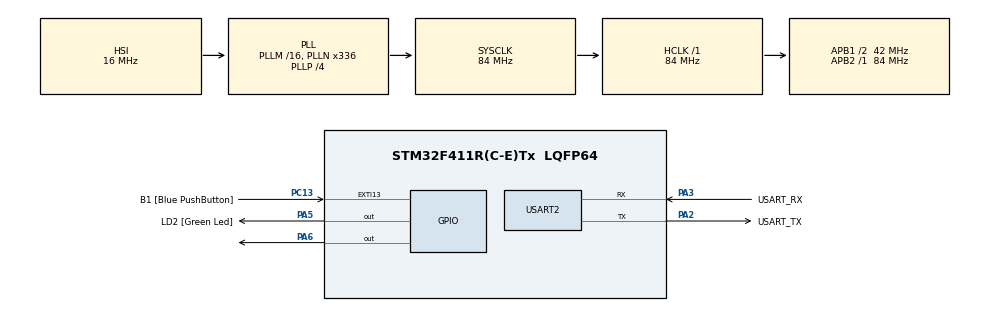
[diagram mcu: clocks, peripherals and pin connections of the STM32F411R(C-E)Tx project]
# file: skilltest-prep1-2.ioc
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Mcu.Family=STM32F4
Mcu.Name=STM32F411R(C-E)Tx
Mcu.Package=LQFP64
NVIC.PriorityGroup=NVIC_PRIORITYGROUP_0
NVIC.USART2_IRQn=true\:0\:0\:false\:false\:true\:true\:true\:true
PA13.GPIO_Label=TMS
PA13.Mode=Serial_Wire
PA13.Signal=SYS_JTMS-SWDIO
PA14.GPIO_Label=TCK
PA14.Mode=Serial_Wire
PA14.Signal=SYS_JTCK-SWCLK
PA2.GPIO_Label=USART_TX
PA2.Mode=Asynchronous
PA2.Signal=USART2_TX
PA3.GPIO_Label=USART_RX
PA3.Mode=Asynchronous
PA3.Signal=USART2_RX
PA5.GPIO_Label=LD2 [Green Led]
PA5.Signal=GPIO_Output
PA6.Signal=GPIO_Output
PB3.GPIO_Label=SWO
PB3.Signal=SYS_JTDO-SWO
PC13-ANTI_TAMP.GPIO_Label=B1 [Blue PushButton]
PC13-ANTI_TAMP.GPIO_ModeDefaultEXTI=GPIO_MODE_IT_FALLING
PC13-ANTI_TAMP.Signal=GPXTI13
PC14-OSC32_IN.Mode=LSE-External-Oscillator
PC14-OSC32_IN.Signal=RCC_OSC32_IN
PC15-OSC32_OUT.Mode=LSE-External-Oscillator
PC15-OSC32_OUT.Signal=RCC_OSC32_OUT
PH0\ -\ OSC_IN.Mode=HSE-External-Clock-Source
PH0\ -\ OSC_IN.Signal=RCC_OSC_IN
PH1\ -\ OSC_OUT.Mode=HSE-External-Clock-Source
PH1\ -\ OSC_OUT.Signal=RCC_OSC_OUT
ProjectManager.HeapSize=0x200
ProjectManager.StackSize=0x400
ProjectManager.TargetToolchain=STM32CubeIDE
RCC.48MHZClocksFreq_Value=84000000
RCC.AHBFreq_Value=84000000
RCC.APB1CLKDivider=RCC_HCLK_DIV2
RCC.APB1Freq_Value=42000000
RCC.APB1TimFreq_Value=84000000
RCC.APB2Freq_Value=84000000
RCC.APB2TimFreq_Value=84000000
RCC.CortexFreq_Value=84000000
RCC.FLatency-AdvancedSettings=FLASH_LATENCY_2
RCC.HCLKFreq_Value=84000000
RCC.HSE_VALUE=8000000
RCC.HSI_VALUE=16000000
RCC.PLLN=336
RCC.PLLP=RCC_PLLP_DIV4
RCC.SYSCLKFreq_VALUE=84000000
RCC.SYSCLKSource=RCC_SYSCLKSOURCE_PLLCLK
RCC.VCOOutputFreq_Value=336000000
USART2.VirtualMode=VM_ASYNC
board=NUCLEO-F411RE

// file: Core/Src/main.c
/* USER CODE BEGIN Header */
/**
  ******************************************************************************
  * @file           : main.c
  * @brief          : Main program body
  ******************************************************************************
  * @attention
  *
  * Copyright (c) 2026 STMicroelectronics.
  * All rights reserved.
  *
  * This software is licensed under terms that can be found in the LICENSE file
  * in the root directory of this software component.
  * If no LICENSE file comes with this software, it is provided AS-IS.
  *
  ******************************************************************************
  */
/* USER CODE END Header */
#include "main.h"

UART_HandleTypeDef huart2;

void SystemClock_Config(void);
static void MX_GPIO_Init(void);
static void MX_USART2_UART_Init(void);

int main(void)
{

  /* MCU Configuration--------------------------------------------------------*/

  /* Reset of all peripherals, Initializes the Flash interface and the Systick. */
  HAL_Init();

  /* Configure the system clock */
  SystemClock_Config();

  /* Initialize all configured peripherals */
  MX_GPIO_Init();
  MX_USART2_UART_Init();

  /* Infinite loop */
  /* USER CODE BEGIN WHILE */
  uint32_t period[] = {500,1000,1500};
  uint32_t index = 0;
  uint32_t isPressed = 0;
  uint32_t lastPressedTick=0;
  uint32_t lastSampleTick = HAL_GetTick();
  uint32_t lastPeriodTick=HAL_GetTick();
  uint32_t counter=0;
  while (1)
  {
	  if(HAL_GetTick()-lastPeriodTick>=period[index]){
		  HAL_GPIO_TogglePin(GPIOA, GPIO_PIN_5);
		  lastPeriodTick=HAL_GetTick();
	  }
	  if(HAL_GetTick()-lastSampleTick){
		  if(HAL_GPIO_ReadPin(GPIOC, GPIO_PIN_13)==GPIO_PIN_RESET){
			  if(!isPressed){
				  counter++;
				  char msg[50];
				  sprintf(msg,"%d\r\n",counter);
				  HAL_UART_Transmit_IT(&huart2, (uint8_t*)msg, strlen(msg));
				  isPressed=1;
				  lastPressedTick=HAL_GetTick();

				  HAL_GPIO_TogglePin(GPIOA, GPIO_PIN_5);
				  lastPeriodTick = HAL_GetTick();
				  index = (index+1)%3;
			  } else if(HAL_GetTick()-lastPressedTick>=3000){
				  counter=0;
			  }
		  } else{
			  isPressed=0;
		  }
	  }
    /* USER CODE END WHILE */

  }
}

void SystemClock_Config(void)
{
  RCC_OscInitTypeDef RCC_OscInitStruct = {0};
  RCC_ClkInitTypeDef RCC_ClkInitStruct = {0};

  /** Configure the main internal regulator output voltage
  */
  __HAL_RCC_PWR_CLK_ENABLE();
  __HAL_PWR_VOLTAGESCALING_CONFIG(PWR_REGULATOR_VOLTAGE_SCALE1);

  /** Initializes the RCC Oscillators according to the specified parameters
  * in the RCC_OscInitTypeDef structure.
  */
  RCC_OscInitStruct.OscillatorType = RCC_OSCILLATORTYPE_HSI;
  RCC_OscInitStruct.HSIState = RCC_HSI_ON;
  RCC_OscInitStruct.HSICalibrationValue = RCC_HSICALIBRATION_DEFAULT;
  RCC_OscInitStruct.PLL.PLLState = RCC_PLL_ON;
  RCC_OscInitStruct.PLL.PLLSource = RCC_PLLSOURCE_HSI;
  RCC_OscInitStruct.PLL.PLLM = 16;
  RCC_OscInitStruct.PLL.PLLN = 336;
  RCC_OscInitStruct.PLL.PLLP = RCC_PLLP_DIV4;
  RCC_OscInitStruct.PLL.PLLQ = 4;
  if (HAL_RCC_OscConfig(&RCC_OscInitStruct) != HAL_OK)
  {
    Error_Handler();
  }

  /** Initializes the CPU, AHB and APB buses clocks
  */
  RCC_ClkInitStruct.ClockType = RCC_CLOCKTYPE_HCLK|RCC_CLOCKTYPE_SYSCLK
                              |RCC_CLOCKTYPE_PCLK1|RCC_CLOCKTYPE_PCLK2;
  RCC_ClkInitStruct.SYSCLKSource = RCC_SYSCLKSOURCE_PLLCLK;
  RCC_ClkInitStruct.AHBCLKDivider = RCC_SYSCLK_DIV1;
  RCC_ClkInitStruct.APB1CLKDivider = RCC_HCLK_DIV2;
  RCC_ClkInitStruct.APB2CLKDivider = RCC_HCLK_DIV1;

  if (HAL_RCC_ClockConfig(&RCC_ClkInitStruct, FLASH_LATENCY_2) != HAL_OK)
  {
    Error_Handler();
  }
}

static void MX_USART2_UART_Init(void)
{

  huart2.Instance = USART2;
  huart2.Init.BaudRate = 115200;
  huart2.Init.WordLength = UART_WORDLENGTH_8B;
  huart2.Init.StopBits = UART_STOPBITS_1;
  huart2.Init.Parity = UART_PARITY_NONE;
  huart2.Init.Mode = UART_MODE_TX_RX;
  huart2.Init.HwFlowCtl = UART_HWCONTROL_NONE;
  huart2.Init.OverSampling = UART_OVERSAMPLING_16;
  if (HAL_UART_Init(&huart2) != HAL_OK)
  {
    Error_Handler();
  }

}

static void MX_GPIO_Init(void)
{
  GPIO_InitTypeDef GPIO_InitStruct = {0};

  /* GPIO Ports Clock Enable */
  __HAL_RCC_GPIOC_CLK_ENABLE();
  __HAL_RCC_GPIOH_CLK_ENABLE();
  __HAL_RCC_GPIOA_CLK_ENABLE();
  __HAL_RCC_GPIOB_CLK_ENABLE();

  /*Configure GPIO pin Output Level */
  HAL_GPIO_WritePin(GPIOA, LD2_Pin|GPIO_PIN_6, GPIO_PIN_RESET);

  /*Configure GPIO pin : B1_Pin */
  GPIO_InitStruct.Pin = B1_Pin;
  GPIO_InitStruct.Mode = GPIO_MODE_IT_FALLING;
  GPIO_InitStruct.Pull = GPIO_NOPULL;
  HAL_GPIO_Init(B1_GPIO_Port, &GPIO_InitStruct);

  /*Configure GPIO pins : LD2_Pin PA6 */
  GPIO_InitStruct.Pin = LD2_Pin|GPIO_PIN_6;
  GPIO_InitStruct.Mode = GPIO_MODE_OUTPUT_PP;
  GPIO_InitStruct.Pull = GPIO_NOPULL;
  GPIO_InitStruct.Speed = GPIO_SPEED_FREQ_LOW;
  HAL_GPIO_Init(GPIOA, &GPIO_InitStruct);

}

void Error_Handler(void)
{
  __disable_irq();
  while (1)
  {
  }
}
